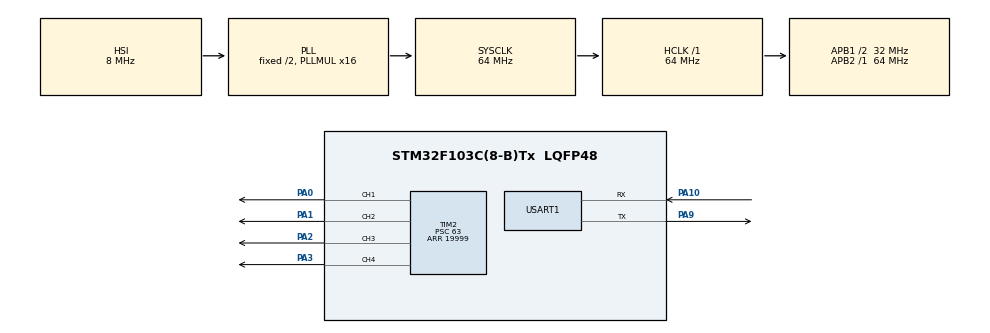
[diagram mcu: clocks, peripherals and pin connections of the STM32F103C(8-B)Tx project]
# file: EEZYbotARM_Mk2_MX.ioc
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Mcu.Family=STM32F1
Mcu.Name=STM32F103C(8-B)Tx
Mcu.Package=LQFP48
NVIC.PriorityGroup=NVIC_PRIORITYGROUP_4
NVIC.USART1_IRQn=true\:2\:0\:true\:false\:true\:true\:true\:true
PA0-WKUP.Signal=S_TIM2_CH1_ETR
PA1.Signal=S_TIM2_CH2
PA10.GPIO_PuPd=GPIO_PULLUP
PA10.Mode=Asynchronous
PA10.Signal=USART1_RX
PA13.Mode=Serial_Wire
PA13.Signal=SYS_JTMS-SWDIO
PA14.Mode=Serial_Wire
PA14.Signal=SYS_JTCK-SWCLK
PA2.Signal=S_TIM2_CH3
PA3.Signal=S_TIM2_CH4
PA9.Mode=Asynchronous
PA9.Signal=USART1_TX
PD0-OSC_IN.Mode=HSE-External-Oscillator
PD0-OSC_IN.Signal=RCC_OSC_IN
PD1-OSC_OUT.Mode=HSE-External-Oscillator
PD1-OSC_OUT.Signal=RCC_OSC_OUT
ProjectManager.HeapSize=0x200
ProjectManager.StackSize=0x400
ProjectManager.TargetToolchain=STM32CubeIDE
RCC.AHBFreq_Value=64000000
RCC.APB1CLKDivider=RCC_HCLK_DIV2
RCC.APB1Freq_Value=32000000
RCC.APB1TimFreq_Value=64000000
RCC.APB2Freq_Value=64000000
RCC.APB2TimFreq_Value=64000000
RCC.HCLKFreq_Value=64000000
RCC.PLLMUL=RCC_PLL_MUL16
RCC.SYSCLKFreq_VALUE=64000000
RCC.SYSCLKSource=RCC_SYSCLKSOURCE_PLLCLK
RCC.USBFreq_Value=64000000
SH.S_TIM2_CH1_ETR.0=TIM2_CH1,PWM Generation1 CH1
SH.S_TIM2_CH2.0=TIM2_CH2,PWM Generation2 CH2
SH.S_TIM2_CH3.0=TIM2_CH3,PWM Generation3 CH3
SH.S_TIM2_CH4.0=TIM2_CH4,PWM Generation4 CH4
TIM2.Channel-PWM\ Generation1\ CH1=TIM_CHANNEL_1
TIM2.Channel-PWM\ Generation2\ CH2=TIM_CHANNEL_2
TIM2.Channel-PWM\ Generation3\ CH3=TIM_CHANNEL_3
TIM2.Channel-PWM\ Generation4\ CH4=TIM_CHANNEL_4
TIM2.Period=19999
TIM2.Prescaler=63
USART1.VirtualMode=VM_ASYNC
board=custom

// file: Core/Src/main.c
/* USER CODE BEGIN Header */
/**
  ******************************************************************************
  * @file           : main.c
  * @brief          : Main program body
  ******************************************************************************
  * @attention
  *
  * Copyright (c) 2026 STMicroelectronics.
  * All rights reserved.
  *
  * This software is licensed under terms that can be found in the LICENSE file
  * in the root directory of this software component.
  * If no LICENSE file comes with this software, it is provided AS-IS.
  *
  ******************************************************************************
  */
/* USER CODE END Header */
#include "main.h"

TIM_HandleTypeDef htim2;

UART_HandleTypeDef huart1;

/* USER CODE BEGIN PV */
uint8_t rx_byte;                    // Biến chứa 1 byte vừa nhận được
uint8_t rx_temp[4];                 // Khung đang nhận dở, chỉ ngắt UART ghi vào
volatile uint8_t rx_frame[4];       // Khung hoàn chỉnh và hợp lệ gần nhất: đế, vai, khuỷu, kẹp
volatile uint8_t rx_index = 0;      // 0 = đang chờ 0xFF, 1..4 = vị trí byte góc kế tiếp
volatile uint8_t data_ready = 0;    // Cờ báo hiệu: 1 = đã có dữ liệu mới, 0 = chưa có

uint8_t baseAngle = 90;
uint8_t shoulderAngle = 90;
uint8_t elbowAngle = 90;
uint8_t gripperAngle = 90;
/* USER CODE END PV */

void SystemClock_Config(void);
static void MX_GPIO_Init(void);
static void MX_TIM2_Init(void);
static void MX_USART1_UART_Init(void);

/* USER CODE BEGIN 0 */
void Servo_Init();
void Servo_Write(uint16_t baseAngle, uint16_t shoulderAngle, uint16_t elbowAngle, uint16_t gripperAngle);

void Servo_Init()
{
	HAL_TIM_PWM_Start(&htim2, TIM_CHANNEL_1);
	HAL_TIM_PWM_Start(&htim2, TIM_CHANNEL_2);
	HAL_TIM_PWM_Start(&htim2, TIM_CHANNEL_3);
	HAL_TIM_PWM_Start(&htim2, TIM_CHANNEL_4);
}

void Servo_Write(uint16_t baseAngle, uint16_t shoulderAngle, uint16_t elbowAngle, uint16_t gripperAngle)
{
  baseAngle = baseAngle > 180 ? 180 : baseAngle;
  shoulderAngle = shoulderAngle > 180 ? 180 : shoulderAngle;
  elbowAngle = elbowAngle > 180 ? 180 : elbowAngle;
  gripperAngle = gripperAngle > 180 ? 180 : gripperAngle;

  uint16_t CCR1_Value = 500 + (baseAngle * 2000) / 180;
  uint16_t CCR2_Value = 500 + (shoulderAngle * 2000) / 180;
  uint16_t CCR3_Value = 500 + (elbowAngle * 2000) / 180;
  uint16_t CCR4_Value = 500 + (gripperAngle * 2000) / 180;

  htim2.Instance->CCR1 = CCR1_Value;
  htim2.Instance->CCR2 = CCR2_Value;
  htim2.Instance->CCR3 = CCR3_Value;
  htim2.Instance->CCR4 = CCR4_Value;
}

void HAL_UART_RxCpltCallback(UART_HandleTypeDef *huart)
{
  // Kiểm tra xem ngắt này có đúng là của USART1 không
  if (huart->Instance == USART1)
  {
    if (rx_byte == 0xFF)
    {
      rx_index = 1;               // Bắt đầu khung mới
    }
    else if (rx_index >= 1)       // rx_index = 0 nghĩa là đang chờ 0xFF
    {
      if (rx_byte > 180)
      {
        rx_index = 0;             // Góc không hợp lệ → khung bị nhiễu, bỏ cả khung, chờ 0xFF kế tiếp
      }
      else
      {
        rx_temp[rx_index - 1] = rx_byte;
        rx_index++;
        if (rx_index > 4)
        {
          // Đủ 4 góc hợp lệ mới chép sang rx_frame, để vòng while không đọc phải khung đang nhận dở
          for (uint8_t i = 0; i < 4; i++) rx_frame[i] = rx_temp[i];
          rx_index = 0;
          data_ready = 1;
        }
      }
    }
    HAL_UART_Receive_IT(&huart1, &rx_byte, sizeof(rx_byte));
  }
}

void HAL_UART_ErrorCallback(UART_HandleTypeDef *huart)
{
  if (huart->Instance == USART1)
  {
    rx_index = 0;       // Bỏ khung lỗi, chờ 0xFF kế tiếp
    HAL_UART_Receive_IT(&huart1, &rx_byte, sizeof(rx_byte));
  }
}
/* USER CODE END 0 */

int main(void)
{

  /* MCU Configuration--------------------------------------------------------*/

  /* Reset of all peripherals, Initializes the Flash interface and the Systick. */
  HAL_Init();

  /* Configure the system clock */
  SystemClock_Config();

  /* Initialize all configured peripherals */
  MX_GPIO_Init();
  MX_TIM2_Init();
  MX_USART1_UART_Init();
  /* USER CODE BEGIN 2 */
  Servo_Init();
  HAL_UART_Receive_IT(&huart1, &rx_byte, sizeof(rx_byte));
  /* USER CODE END 2 */

  /* Infinite loop */
  /* USER CODE BEGIN WHILE */
  while (1)
  {
    if (data_ready == 1)
    {
      // Tắt ngắt trong lúc chép 4 byte, để ngắt UART không ghi đè rx_frame giữa chừng
      __disable_irq();
      baseAngle = rx_frame[0];
      shoulderAngle = rx_frame[1];
      elbowAngle = rx_frame[2];
      gripperAngle = rx_frame[3];
      data_ready = 0;
      __enable_irq();

      Servo_Write(baseAngle, shoulderAngle, elbowAngle, gripperAngle);
    }

    /* USER CODE END WHILE */

  }
}

void SystemClock_Config(void)
{
  RCC_OscInitTypeDef RCC_OscInitStruct = {0};
  RCC_ClkInitTypeDef RCC_ClkInitStruct = {0};

  /** Initializes the RCC Oscillators according to the specified parameters
  * in the RCC_OscInitTypeDef structure.
  */
  RCC_OscInitStruct.OscillatorType = RCC_OSCILLATORTYPE_HSI;
  RCC_OscInitStruct.HSIState = RCC_HSI_ON;
  RCC_OscInitStruct.HSICalibrationValue = RCC_HSICALIBRATION_DEFAULT;
  RCC_OscInitStruct.PLL.PLLState = RCC_PLL_ON;
  RCC_OscInitStruct.PLL.PLLSource = RCC_PLLSOURCE_HSI_DIV2;
  RCC_OscInitStruct.PLL.PLLMUL = RCC_PLL_MUL16;
  if (HAL_RCC_OscConfig(&RCC_OscInitStruct) != HAL_OK)
  {
    Error_Handler();
  }

  /** Initializes the CPU, AHB and APB buses clocks
  */
  RCC_ClkInitStruct.ClockType = RCC_CLOCKTYPE_HCLK|RCC_CLOCKTYPE_SYSCLK
                              |RCC_CLOCKTYPE_PCLK1|RCC_CLOCKTYPE_PCLK2;
  RCC_ClkInitStruct.SYSCLKSource = RCC_SYSCLKSOURCE_PLLCLK;
  RCC_ClkInitStruct.AHBCLKDivider = RCC_SYSCLK_DIV1;
  RCC_ClkInitStruct.APB1CLKDivider = RCC_HCLK_DIV2;
  RCC_ClkInitStruct.APB2CLKDivider = RCC_HCLK_DIV1;

  if (HAL_RCC_ClockConfig(&RCC_ClkInitStruct, FLASH_LATENCY_2) != HAL_OK)
  {
    Error_Handler();
  }
}

static void MX_TIM2_Init(void)
{

  TIM_MasterConfigTypeDef sMasterConfig = {0};
  TIM_OC_InitTypeDef sConfigOC = {0};

  htim2.Instance = TIM2;
  htim2.Init.Prescaler = 63;
  htim2.Init.CounterMode = TIM_COUNTERMODE_UP;
  htim2.Init.Period = 19999;
  htim2.Init.ClockDivision = TIM_CLOCKDIVISION_DIV1;
  htim2.Init.AutoReloadPreload = TIM_AUTORELOAD_PRELOAD_DISABLE;
  if (HAL_TIM_PWM_Init(&htim2) != HAL_OK)
  {
    Error_Handler();
  }
  sMasterConfig.MasterOutputTrigger = TIM_TRGO_RESET;
  sMasterConfig.MasterSlaveMode = TIM_MASTERSLAVEMODE_DISABLE;
  if (HAL_TIMEx_MasterConfigSynchronization(&htim2, &sMasterConfig) != HAL_OK)
  {
    Error_Handler();
  }
  sConfigOC.OCMode = TIM_OCMODE_PWM1;
  sConfigOC.Pulse = 0;
  sConfigOC.OCPolarity = TIM_OCPOLARITY_HIGH;
  sConfigOC.OCFastMode = TIM_OCFAST_DISABLE;
  if (HAL_TIM_PWM_ConfigChannel(&htim2, &sConfigOC, TIM_CHANNEL_1) != HAL_OK)
  {
    Error_Handler();
  }
  if (HAL_TIM_PWM_ConfigChannel(&htim2, &sConfigOC, TIM_CHANNEL_2) != HAL_OK)
  {
    Error_Handler();
  }
  if (HAL_TIM_PWM_ConfigChannel(&htim2, &sConfigOC, TIM_CHANNEL_3) != HAL_OK)
  {
    Error_Handler();
  }
  if (HAL_TIM_PWM_ConfigChannel(&htim2, &sConfigOC, TIM_CHANNEL_4) != HAL_OK)
  {
    Error_Handler();
  }
  HAL_TIM_MspPostInit(&htim2);

}

static void MX_USART1_UART_Init(void)
{

  huart1.Instance = USART1;
  huart1.Init.BaudRate = 115200;
  huart1.Init.WordLength = UART_WORDLENGTH_8B;
  huart1.Init.StopBits = UART_STOPBITS_1;
  huart1.Init.Parity = UART_PARITY_NONE;
  huart1.Init.Mode = UART_MODE_TX_RX;
  huart1.Init.HwFlowCtl = UART_HWCONTROL_NONE;
  huart1.Init.OverSampling = UART_OVERSAMPLING_16;
  if (HAL_UART_Init(&huart1) != HAL_OK)
  {
    Error_Handler();
  }

}

static void MX_GPIO_Init(void)
{

  /* GPIO Ports Clock Enable */
  __HAL_RCC_GPIOD_CLK_ENABLE();
  __HAL_RCC_GPIOA_CLK_ENABLE();

}

void Error_Handler(void)
{
  __disable_irq();
  while (1)
  {
  }
}
